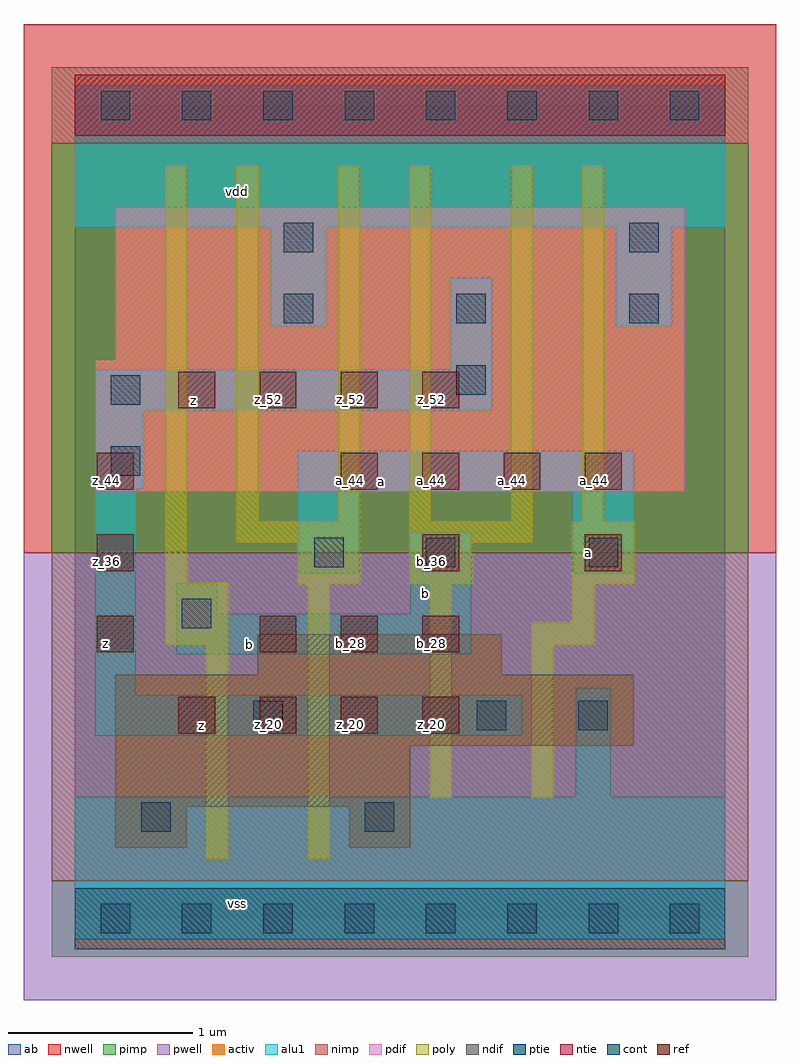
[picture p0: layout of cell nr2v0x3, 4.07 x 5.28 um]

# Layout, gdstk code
import gdstk
lib = gdstk.Library(unit=1e-6, precision=2.5e-09)
def R(c, l, rs):  # rectangles x0, y0, x1, y1
    for r in rs: c.add(gdstk.rectangle(r[:2], r[2:], *l))
def A(c, l, x, y, w, h, nx, ny, dx, dy):  # array of equal rectangles
    R(c, l, [(x+i*dx, y+j*dy, x+i*dx+w, y+j*dy+h) for i in range(nx) for j in range(ny)])
ndif = (3, 0)
pdif = (4, 0)
ntie = (5, 0)
ptie = (6, 0)
ref = (24, 0)
cont = (25, 0)
pwell = (41, 0)
nwell = (42, 0)
activ = (43, 0)
pimp = (44, 0)
nimp = (45, 0)
poly = (46, 0)
alu1 = (49, 0)
ab = (63, 0)

nr2v0x3 = lib.new_cell('nr2v0x3')
R(nr2v0x3, ndif, [(0.22,0.385,0.605,0.605), (1.485,0.385,1.815,0.605), (0.22,0.605,1.815,0.935), (0.22,0.935,3.025,1.32), (0.99,1.32,2.31,1.54)])
R(nr2v0x3, pdif, [(0.11,2.31,3.3,3.025), (0.22,3.025,3.3,3.85)])
R(nr2v0x3, ntie, [(0,4.235,3.52,4.565)])
R(nr2v0x3, ptie, [(0,-0.165,3.52,0.165)])
A(nr2v0x3, ref, 0.56, 1, 0.2, 0.2, 4, 2, 0.44, 1.76)
A(nr2v0x3, ref, 0.12, 1.44, 0.2, 0.2, 1, 3, 0, 0.44)
A(nr2v0x3, ref, 1, 1.44, 0.2, 0.2, 3, 1, 0.44, 0)
A(nr2v0x3, ref, 1.44, 2.32, 0.2, 0.2, 4, 1, 0.44, 0)
R(nr2v0x3, ref, [(1.88,1.88,2.08,2.08), (2.76,1.88,2.96,2.08)])
A(nr2v0x3, cont, 0.14, -0.08, 0.16, 0.16, 8, 2, 0.44, 4.4)
A(nr2v0x3, cont, 1.13, 3.22, 0.16, 0.16, 3, 1, 0.935, 0)
R(nr2v0x3, cont, [(0.36,0.47,0.52,0.63), (1.57,0.47,1.73,0.63), (0.965,1.02,1.125,1.18), (2.175,1.02,2.335,1.18), (2.725,1.02,2.885,1.18), (0.58,1.57,0.74,1.73), (1.295,1.9,1.455,2.06), (1.9,1.9,2.06,2.06), (2.78,1.9,2.94,2.06), (0.195,2.395,0.355,2.555), (0.195,2.78,0.355,2.94), (2.065,2.835,2.225,2.995), (1.13,3.605,1.29,3.765), (3,3.605,3.16,3.765)])
R(nr2v0x3, pwell, [(-0.275,-0.44,3.795,1.98)])
R(nr2v0x3, nwell, [(-0.275,1.98,3.795,4.84)])
R(nr2v0x3, activ, [(0,-0.165,3.52,0.165), (0.22,0.385,0.605,0.605), (1.485,0.385,1.815,0.605), (0.22,0.605,1.815,0.935), (0.22,0.935,3.025,1.32), (0.99,1.32,2.31,1.54), (0.11,2.31,3.3,3.025), (0.22,3.025,3.3,3.85), (0,4.235,3.52,4.565)])
R(nr2v0x3, pimp, [(-0.125,-0.205,3.645,0.205), (-0.125,1.98,3.645,4.195)])
R(nr2v0x3, nimp, [(-0.125,0.205,3.645,1.98), (-0.125,4.195,3.645,4.605)])
R(nr2v0x3, poly, [(0.71,0.325,0.83,1.48), (1.26,0.325,1.38,1.81), (1.92,0.655,2.04,1.81), (2.47,0.655,2.59,1.48), (0.49,1.48,0.83,1.82), (2.47,1.48,2.81,1.6), (2.69,1.6,2.81,1.81), (1.205,1.81,1.545,2.03), (1.81,1.81,2.15,2.03), (2.69,1.81,3.03,2.15), (0.49,1.82,0.61,4.075), (0.875,2.03,1.545,2.15), (1.81,2.03,2.48,2.15), (0.875,2.15,0.995,4.075), (1.425,2.15,1.545,4.075), (1.81,2.15,1.93,4.075), (2.36,2.15,2.48,4.075), (2.745,2.15,2.865,4.075)])
R(nr2v0x3, alu1, [(0,-0.11,3.52,0.66), (2.71,0.66,2.9,1.25), (0.11,0.99,2.42,1.21), (0.11,1.21,0.33,2.325), (0.55,1.43,2.145,1.65), (0.55,1.65,0.77,1.815), (1.815,1.65,2.145,2.09), (1.21,1.87,1.54,2.31), (2.695,1.87,3.025,2.31), (1.21,2.31,3.025,2.53), (0.11,2.325,0.37,2.75), (0.11,2.75,2.255,2.97), (2.035,2.97,2.255,3.465), (1.06,3.205,1.36,3.74), (2.93,3.205,3.23,3.74), (0,3.74,3.52,4.51)])
R(nr2v0x3, ab, [(0,0,3.52,4.4)])
nr2v0x3.add(gdstk.Label('vss', (0.88,0.0825), layer=49, texttype=0))
nr2v0x3.add(gdstk.Label('z', (0.6875,1.045), layer=49, texttype=0))
nr2v0x3.add(gdstk.Label('b', (0.9475,1.485), layer=49, texttype=0))
nr2v0x3.add(gdstk.Label('a', (2.7775,1.98), layer=49, texttype=0))
nr2v0x3.add(gdstk.Label('b', (1.8975,1.76), layer=49, texttype=0))
nr2v0x3.add(gdstk.Label('a', (1.6625,2.365), layer=49, texttype=0))
nr2v0x3.add(gdstk.Label('z', (0.165,1.4875), layer=49, texttype=0))
nr2v0x3.add(gdstk.Label('z', (0.645,2.805), layer=49, texttype=0))
nr2v0x3.add(gdstk.Label('vdd', (0.88,3.9325), layer=49, texttype=0))
nr2v0x3.add(gdstk.Label('a_44', (2.81,2.37), layer=24, texttype=0))
nr2v0x3.add(gdstk.Label('b_28', (1.93,1.49), layer=24, texttype=0))
nr2v0x3.add(gdstk.Label('z_20', (0.61,1.05), layer=24, texttype=0))
nr2v0x3.add(gdstk.Label('z_52', (0.61,2.81), layer=24, texttype=0))
nr2v0x3.add(gdstk.Label('z_20', (1.05,1.05), layer=24, texttype=0))
nr2v0x3.add(gdstk.Label('b_28', (1.05,1.49), layer=24, texttype=0))
nr2v0x3.add(gdstk.Label('z_52', (1.05,2.81), layer=24, texttype=0))
nr2v0x3.add(gdstk.Label('z_20', (1.49,1.05), layer=24, texttype=0))
nr2v0x3.add(gdstk.Label('b_28', (1.49,1.49), layer=24, texttype=0))
nr2v0x3.add(gdstk.Label('a_44', (1.49,2.37), layer=24, texttype=0))
nr2v0x3.add(gdstk.Label('z_52', (1.49,2.81), layer=24, texttype=0))
nr2v0x3.add(gdstk.Label('z_20', (1.93,1.05), layer=24, texttype=0))
nr2v0x3.add(gdstk.Label('b_36', (1.93,1.93), layer=24, texttype=0))
nr2v0x3.add(gdstk.Label('a_44', (1.93,2.37), layer=24, texttype=0))
nr2v0x3.add(gdstk.Label('z_52', (1.93,2.81), layer=24, texttype=0))
nr2v0x3.add(gdstk.Label('z_28', (0.17,1.49), layer=24, texttype=0))
nr2v0x3.add(gdstk.Label('z_36', (0.17,1.93), layer=24, texttype=0))
nr2v0x3.add(gdstk.Label('z_44', (0.17,2.37), layer=24, texttype=0))
nr2v0x3.add(gdstk.Label('a_44', (2.37,2.37), layer=24, texttype=0))
nr2v0x3.add(gdstk.Label('a_36', (2.81,1.93), layer=24, texttype=0))

lib.write_gds('nr2v0x3.gds')
